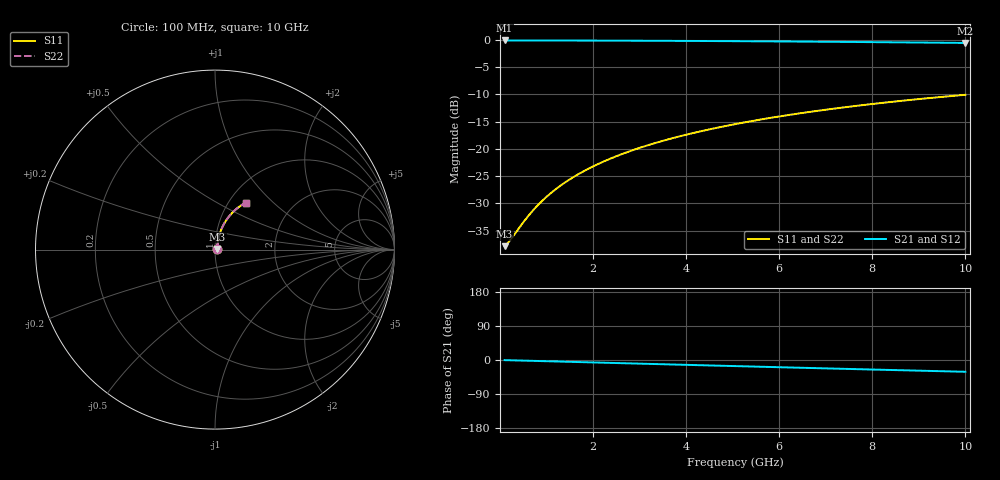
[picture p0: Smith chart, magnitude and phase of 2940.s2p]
# Hz S RI R 50.00
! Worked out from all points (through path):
!   100 points, 100 MHz to 10 GHz, reference 50 ohm
!   highest |S21| = -0.11 dB at 100 MHz (marker M1); lowest = -0.6 dB at 10 GHz (marker M2)
!   group delay of S21, straight-line fit = 8.65 ps
!   lowest |S11| = -37.9 dB at 100 MHz (marker M3), VSWR 1.03, Z = 51.3 + j0.342 ohm
!   |S11| at or under -10 dB: start of sweep to end of sweep
!   |S22| runs from -37.9 to -10.1 dB; largest |S21 - S12| = 0
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1e8  0.0124 0.00333  0.9876 -0.00554  0.9876 -0.00554  0.0124 0.00333
2e8  0.0125 0.00667  0.9875 -0.0111  0.9875 -0.0111  0.0125 0.00667
5e8  0.013 0.0167  0.9869 -0.0277  0.9869 -0.0277  0.013 0.0167
6e8  0.0133 0.02  0.9866 -0.0332  0.9866 -0.0332  0.0133 0.02
7e8  0.0136 0.0233  0.9863 -0.0387  0.9863 -0.0387  0.0136 0.0233
9e8  0.0142 0.0299  0.9856 -0.0498  0.9856 -0.0498  0.0142 0.0299
1.1e9  0.015 0.0365  0.9847 -0.0608  0.9847 -0.0608  0.015 0.0365
1.3e9  0.0159 0.0431  0.9836 -0.0718  0.9836 -0.0718  0.0159 0.0431
1.5e9  0.017 0.0497  0.9824 -0.0828  0.9824 -0.0828  0.017 0.0497
1.8e9  0.0189 0.0595  0.9803 -0.0992  0.9803 -0.0992  0.0189 0.0595
2.1e9  0.0211 0.0692  0.9778 -0.1155  0.9778 -0.1155  0.0211 0.0692
2.5e9  0.0246 0.082  0.9739 -0.1371  0.9739 -0.1371  0.0246 0.082
2.9e9  0.0285 0.0946  0.9693 -0.1585  0.9693 -0.1585  0.0285 0.0946
3.4e9  0.0343 0.11  0.9628 -0.185  0.9628 -0.185  0.0343 0.11
3.8e9  0.0395 0.1221  0.9569 -0.2059  0.9569 -0.2059  0.0395 0.1221
4.2e9  0.0452 0.1338  0.9504 -0.2266  0.9504 -0.2266  0.0452 0.1338
5.1e9  0.0598 0.1592  0.9337 -0.2719  0.9337 -0.2719  0.0598 0.1592
5.9e9  0.0747 0.1803  0.9166 -0.3107  0.9166 -0.3107  0.0747 0.1803
6.7e9  0.0912 0.1998  0.8976 -0.348  0.8976 -0.348  0.0912 0.1998
7.5e9  0.1091 0.2176  0.8768 -0.3837  0.8768 -0.3837  0.1091 0.2176
8.4e9  0.1307 0.2356  0.8515 -0.4218  0.8515 -0.4218  0.1307 0.2356
1e10  0.1722 0.2617  0.8025 -0.4838  0.8025 -0.4838  0.1722 0.2617
